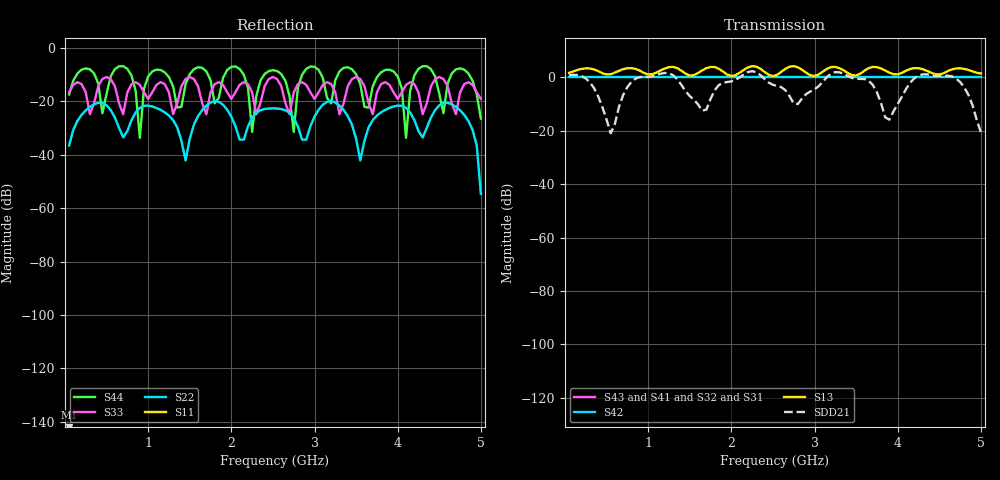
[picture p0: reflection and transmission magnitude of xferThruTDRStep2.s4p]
# MHz MA S R 50.0
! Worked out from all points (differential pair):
!   100 points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, 50 MHz to 5 GHz, reference 50 ohm
!   strongest paths, dB at 50 MHz, 1.3 GHz, 2.55 GHz, 3.8 GHz, 5 GHz:
!     S13: 1.7, 3.9, 1.0, 3.4, 1.5
!     S42: 0.0, 0.0, 0.0, 0.0, 0.0
!     S43: -, -, -, -, -
!     S41: -, -, -, -, -
!     S32: -, -, -, -, -
!     S31: -, -, -, -, -
!   taken as a pair (ports 3,2 in; 1,4 out), SDD21 dB: 0.9, 0.8, -3.2, -9.7, -20.6
!   lowest |S11| = - dB at 50 MHz (marker M1), VSWR 1.00, Z = 50 + j0 ohm
!   |S11| at or under -10 dB: start of sweep to end of sweep
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50  0 0.0  0 0.0  1.221 -12.2  0 0.0
    0 0.0  0.01491 -108.0  0 0.0  0.997 -24.4
    0 0.0  0 0.0  0.1481 106.4  0 0.0
    0 0.0  1 0.0  0 0.0  0.1347 -109.1
600  0 0.0  0 0.0  1.23 172.8  0 0.0
     0 0.0  0.04982 -79.1  0 0.0  0.6701 168.5
     0 0.0  0 0.0  0.1924 -65.0  0 0.0
     0 0.0  1 0.0  0 0.0  0.4005 32.4
1750  0 0.0  0 0.0  1.575 155.0  0 0.0
      0 0.0  0.09517 53.4  0 0.0  0.9241 -129.8
      0 0.0  0 0.0  0.1467 51.1  0 0.0
      0 0.0  1 0.0  0 0.0  0.2494 -19.9
2250  0 0.0  0 0.0  1.626 -7.5  0 0.0
      0 0.0  0.04932 -39.8  0 0.0  1.043 77.0
      0 0.0  0 0.0  0.1467 -51.1  0 0.0
      0 0.0  1 0.0  0 0.0  0.02674 157.4
2750  0 0.0  0 0.0  1.626 -172.5  0 0.0
      0 0.0  0.04932 39.8  0 0.0  1.043 -77.0
      0 0.0  0 0.0  0.1467 51.1  0 0.0
      0 0.0  1 0.0  0 0.0  0.02674 -157.4
3300  0 0.0  0 0.0  1.495 3.5  0 0.0
      0 0.0  0.08326 -84.6  0 0.0  0.7546 111.6
      0 0.0  0 0.0  0.05732 -115.0  0 0.0
      0 0.0  1 0.0  0 0.0  0.364 -8.6
5000  0 0.0  0 0.0  1.187 180.0  0 0.0
      0 0.0  0.001855 0.0  0 0.0  1.05 -0.0
      0 0.0  0 0.0  0.1111 -180.0  0 0.0
      0 0.0  1 0.0  0 0.0  0.04755 -0.0
